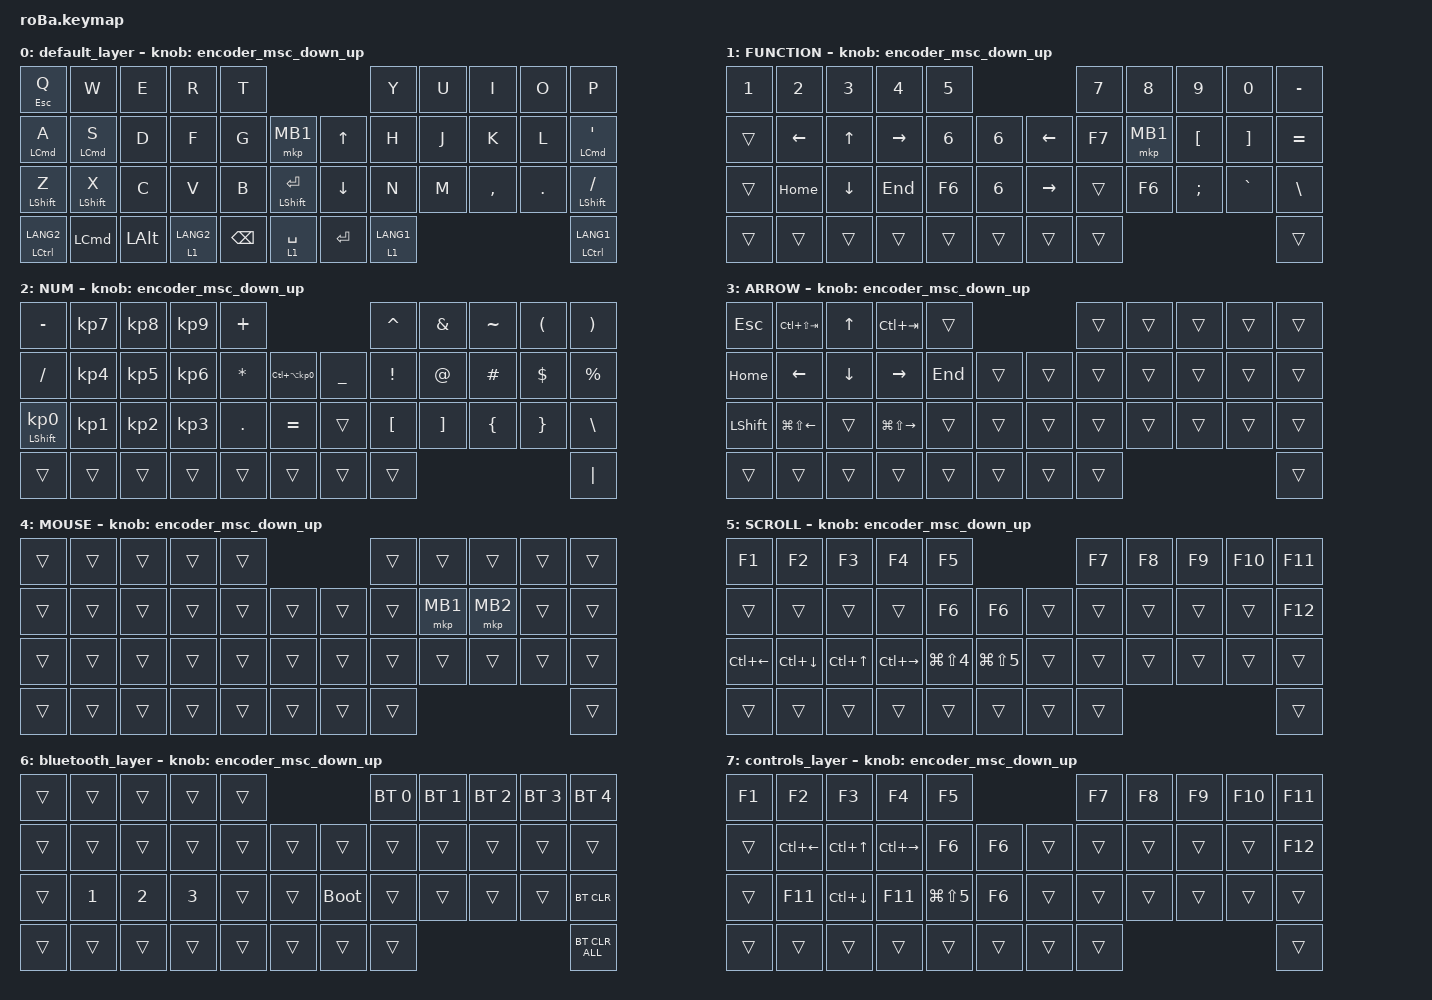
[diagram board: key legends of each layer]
#include <behaviors.dtsi>
#include <dt-bindings/zmk/bt.h>
#include <dt-bindings/zmk/keys.h>
#include <dt-bindings/zmk/pointing.h>

// #includeのあとのあたりにスクロール量変更の定義を追記

#define ZMK_POINTING_DEFAULT_SCRL_VAL 80

&mt {
    flavor = "balanced";
    quick-tap-ms = <0>;
};

&trackball {
    automouse-layer = <4>;
    scroll-layers = <5>;

    // arrows {
    //     layers = <3>;
    //     bindings =
    //         <&kp RIGHT_ARROW>,
    //         <&kp LEFT_ARROW>,
    //         <&kp UP_ARROW>,
    //         <&kp DOWN_ARROW>;
    //     tick = <10>;
    //     wait-ms = <5>;
    //     tap-ms = <5>;
    // };
};

/ {
    combos {
        compatible = "zmk,combos";

        tab {
            bindings = <&kp TAB>;
            key-positions = <1 0>;
        };

        combo_escape {
            bindings = <&kp ESCAPE>;
            key-positions = <1 2>;
        };

        double_quotation {
            bindings = <&kp SEMICOLON>;
            key-positions = <20 21>;
        };

        mouse_gesture_like_trackpad {
            bindings = <&custom_mouse_hold_tap 5 MB2>;
            key-positions = <19 18>;
        };

        mouse_gesture_like_trackpad_ji {
            bindings = <&custom_mouse_hold_tap 5 MB2>;
            key-positions = <18 7>;
        };

        go_to_controls_layer_right {
            bindings = <&mo 7>;
            key-positions = <40 41>;
        };

        go_to_controls_layer_left {
            bindings = <&mo 7>;
            key-positions = <38 37>;
        };

        go_to_controls_layer_right_2 {
            bindings = <&mo 7>;
            key-positions = <41 28>;
        };

        go_to_bluetooth_layer {
            bindings = <&mo 6>;
            key-positions = <26 27>;
        };

        right_command_and_shift {
            bindings = <&kp LG(LEFT_SHIFT)>;
            key-positions = <21 33>;
        };

        escape_eisuu {
            bindings = <&vim_escape_and_eisuu>;
            key-positions = <42 18>;
        };
    };

    macros {
        to_layer_0: to_layer_0 {
            compatible = "zmk,behavior-macro-one-param";
            #binding-cells = <1>;
            bindings = <&to 0 &macro_param_1to1 &kp MACRO_PLACEHOLDER>;
            label = "TO_LAYER_0";
        };

        vim_escape_and_eisuu: vim_escape_and_eisuu {
            compatible = "zmk,behavior-macro";
            #binding-cells = <0>;
            bindings = <&kp ESCAPE &kp LANGUAGE_2>;
            label = "VIM_ESCAPE_AND_EISUU";
        };
    };

    behaviors {
        // combosやmacrosと同じ階層に以下のbihaviorsを追記
        // スクロール方向を逆にしたい場合は <&msc SCRL_DOWN> と <&msc SCRL_UP> を入れ替えてください

        encoder_msc_down_up: encoder_msc_down_up {
            compatible = "zmk,behavior-sensor-rotate";
            label = "ENCODER_MSC_DOWN_UP";
            #sensor-binding-cells = <0>;

            // bindings = <&msc SCRL_DOWN>, <&msc SCRL_UP>;

            bindings = <&msc SCRL_UP>, <&msc SCRL_DOWN>;

            tap-ms = <20>;
        };

        lt_to_layer_0: lt_to_layer_0 {
            compatible = "zmk,behavior-hold-tap";
            label = "LAYER_TAP_TO_0";
            bindings = <&mo>, <&to_layer_0>;

            #binding-cells = <2>;
            tapping-term-ms = <200>;
        };

        custom_mouse_hold_tap: custom_mouse_hold_tap {
            compatible = "zmk,behavior-hold-tap";
            label = "CUSTOM_MOUSE_HOLD_TAP";
            bindings = <&mo>, <&mkp>;

            #binding-cells = <2>;
            tapping-term-ms = <200>;
        };
    };

    keymap {
        compatible = "zmk,keymap";

        default_layer {
            bindings = <
&mt ESCAPE Q            &kp W               &kp E         &kp R                   &kp T                                                      &kp Y        &kp U  &kp I      &kp O    &kp P
&mt LEFT_COMMAND A      &mt LEFT_COMMAND S  &kp D         &kp F                   &kp G          &mkp MB1                    &kp UP_ARROW    &kp H        &kp J  &kp K      &kp L    &mt LEFT_COMMAND SQT
&mt LEFT_SHIFT Z        &mt LEFT_SHIFT X    &kp C         &kp V                   &kp B          &mt LEFT_SHIFT ENTER        &kp DOWN_ARROW  &kp N        &kp M  &kp COMMA  &kp DOT  &mt LEFT_SHIFT SLASH
&mt LEFT_CONTROL LANG2  &kp LEFT_COMMAND    &kp LEFT_ALT  &lt_to_layer_0 1 LANG2  &kp BACKSPACE  &lt_to_layer_0 1 SPACE      &kp ENTER       &lt 1 LANG1                             &mt LEFT_CONTROL LANG1
            >;

            // この記述をmscに設定する

            sensor-bindings = <&encoder_msc_down_up>;
        };

        FUNCTION {
            bindings = <
&kp NUMBER_1  &kp NUMBER_2    &kp NUMBER_3    &kp NUMBER_4  &kp N5                                           &kp N7  &kp N8    &kp N9            &kp N0             &kp MINUS
&trans        &kp LEFT_ARROW  &kp UP_ARROW    &kp RIGHT     &kp NUMBER_6  &kp NUMBER_6      &kp LEFT_ARROW   &kp F7  &mkp MB1  &kp LEFT_BRACKET  &kp RIGHT_BRACKET  &kp EQUAL
&trans        &kp HOME        &kp DOWN_ARROW  &kp END       &kp F6        &kp NUMBER_6      &kp RIGHT_ARROW  &trans  &kp F6    &kp SEMICOLON     &kp GRAVE          &kp BACKSLASH
&trans        &trans          &trans          &trans        &trans        &trans            &trans           &trans                                                 &trans
            >;

            // この記述をmscに設定する

            sensor-bindings = <&encoder_msc_down_up>;
        };

        NUM {
            bindings = <
&kp MINUS                   &kp KP_NUMBER_7  &kp KP_NUMBER_8  &kp KP_NUMBER_9  &kp PLUS                                                   &kp CARET         &kp AMPERSAND      &kp TILDE       &kp LEFT_PARENTHESIS  &kp RIGHT_PARENTHESIS
&kp SLASH                   &kp KP_NUMBER_4  &kp KP_NUMBER_5  &kp KP_NUMBER_6  &kp ASTERISK  &kp LC(LA(KP_NUMBER_0))      &kp UNDERSCORE  &kp EXCLAMATION   &kp AT_SIGN        &kp HASH        &kp DOLLAR            &kp PERCENT
&mt LEFT_SHIFT KP_NUMBER_0  &kp KP_NUMBER_1  &kp KP_NUMBER_2  &kp KP_NUMBER_3  &kp PERIOD    &kp EQUAL                    &trans          &kp LEFT_BRACKET  &kp RIGHT_BRACKET  &kp LEFT_BRACE  &kp RIGHT_BRACE       &kp BACKSLASH
&trans                      &trans           &trans           &trans           &trans        &trans                       &trans          &trans                                                                     &kp PIPE
            >;

            // この記述をmscに設定する

            sensor-bindings = <&encoder_msc_down_up>;
        };

        ARROW {
            bindings = <
&kp ESCAPE      &kp LC(LS(TAB))         &kp UP_ARROW    &kp LC(TAB)              &trans                       &trans  &trans  &trans  &trans  &trans
&kp HOME        &kp LEFT_ARROW          &kp DOWN_ARROW  &kp RIGHT_ARROW          &kp END  &trans      &trans  &trans  &trans  &trans  &trans  &trans
&kp LEFT_SHIFT  &kp LG(LS(LEFT_ARROW))  &trans          &kp LG(LS(RIGHT_ARROW))  &trans   &trans      &trans  &trans  &trans  &trans  &trans  &trans
&trans          &trans                  &trans          &trans                   &trans   &trans      &trans  &trans                          &trans
            >;

            // この記述をmscに設定する

            sensor-bindings = <&encoder_msc_down_up>;
        };

        MOUSE {
            bindings = <
&trans  &trans  &trans  &trans  &trans                      &trans  &trans    &trans    &trans  &trans
&trans  &trans  &trans  &trans  &trans  &trans      &trans  &trans  &mkp MB1  &mkp MB2  &trans  &trans
&trans  &trans  &trans  &trans  &trans  &trans      &trans  &trans  &trans    &trans    &trans  &trans
&trans  &trans  &trans  &trans  &trans  &trans      &trans  &trans                              &trans
            >;

            // この記述をmscに設定する

            sensor-bindings = <&encoder_msc_down_up>;
        };

        SCROLL {
            bindings = <
&kp F1              &kp F2              &kp F3            &kp F4               &kp F5                                            &kp F7  &kp F8  &kp F9  &kp F10  &kp F11
&trans              &trans              &trans            &trans               &kp F6                &kp F6              &trans  &trans  &trans  &trans  &trans   &kp F12
&kp LC(LEFT_ARROW)  &kp LC(DOWN_ARROW)  &kp LC(UP_ARROW)  &kp LC(RIGHT_ARROW)  &kp LG(LS(NUMBER_4))  &kp LG(LS(N5))      &trans  &trans  &trans  &trans  &trans   &trans
&trans              &trans              &trans            &trans               &trans                &trans              &trans  &trans                           &trans
            >;

            sensor-bindings = <&encoder_msc_down_up>;
        };

        bluetooth_layer {
            bindings = <
&trans  &trans        &trans        &trans        &trans                           &bt BT_SEL 0  &bt BT_SEL 1  &bt BT_SEL 2  &bt BT_SEL 3  &bt BT_SEL 4
&trans  &trans        &trans        &trans        &trans  &trans      &trans       &trans        &trans        &trans        &trans        &trans
&trans  &kp NUMBER_1  &kp NUMBER_2  &kp NUMBER_3  &trans  &trans      &bootloader  &trans        &trans        &trans        &trans        &bt BT_CLR
&trans  &trans        &trans        &trans        &trans  &trans      &trans       &trans                                                  &bt BT_CLR_ALL
            >;

            // この記述をmscに設定する

            sensor-bindings = <&encoder_msc_down_up>;
        };

        controls_layer {
            bindings = <
&kp F1  &kp F2              &kp F3            &kp F4         &kp F5                              &kp F7  &kp F8  &kp F9  &kp F10  &kp F11
&trans  &kp LC(LEFT_ARROW)  &kp LC(UP_ARROW)  &kp LC(RIGHT)  &kp F6          &kp F6      &trans  &trans  &trans  &trans  &trans   &kp F12
&trans  &kp F11             &kp LC(DOWN)      &kp F11        &kp LG(LS(N5))  &kp F6      &trans  &trans  &trans  &trans  &trans   &trans
&trans  &trans              &trans            &trans         &trans          &trans      &trans  &trans                           &trans
            >;

            sensor-bindings = <&encoder_msc_down_up>;
        };
    };
};
